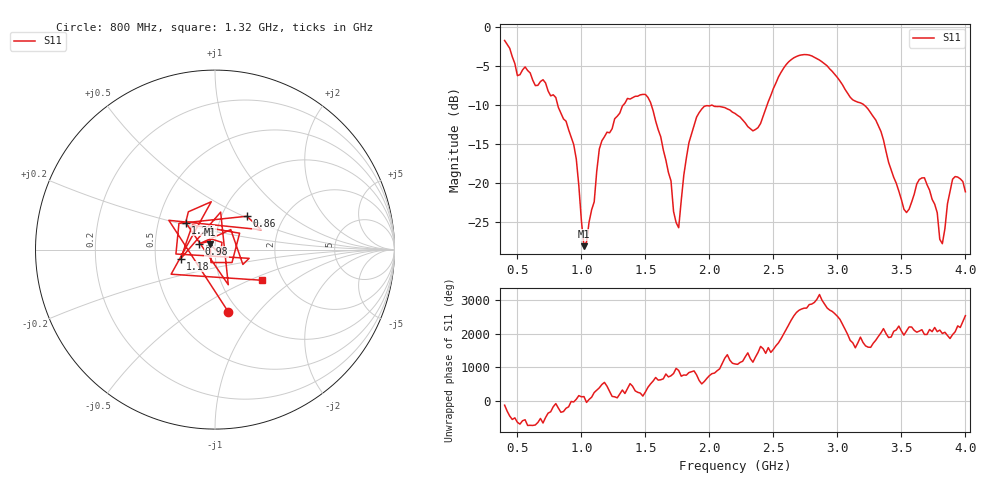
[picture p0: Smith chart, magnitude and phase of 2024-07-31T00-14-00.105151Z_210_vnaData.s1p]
!Created with skrf (http://scikit-rf.org).
# Hz S RI R 50.0
!freq ReS11 ImS11
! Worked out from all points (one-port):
!   181 points, 400 MHz to 4 GHz, reference 50 ohm
!   lowest |S11| = -28.2 dB at 1.02 GHz (marker M1), VSWR 1.08, Z = 47.4 + j2.77 ohm
!   |S11| at or under -10 dB: 814.9 MHz to 1.328 GHz (513.2 MHz wide, 47.9 % of centre); 1.546 GHz to 2.451 GHz (905.1 MHz wide, 45.3 % of centre); 3.207 GHz to end of sweep
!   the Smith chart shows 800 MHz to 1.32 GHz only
!   S11 on the Smith chart (normalised r, x): 800 MHz: 0.89, -0.71; 860 MHz: 1.31, +0.52; 980 MHz: 0.83, +0.05; 1.18 GHz: 0.68, -0.07; 1.24 GHz: 0.69, +0.22; 1.32 GHz: 1.57, -0.59
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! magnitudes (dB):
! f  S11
! 400 MHz  -1.7
! 500 MHz  -6.2
! 800 MHz  -9.1
! 860 MHz  -11.8
! 940 MHz  -15.1
! 980 MHz  -20.4
! 1.02 GHz  -28.2
! 1.1 GHz  -22.5
! 1.14 GHz  -15.7
! 1.18 GHz  -14.1
! 1.24 GHz  -13.1
! 1.3 GHz  -11.0
! 1.32 GHz  -10.1
! 1.54 GHz  -9.7
! 1.76 GHz  -25.8
! 1.82 GHz  -16.8
! 1.9 GHz  -11.6
! 2.2 GHz  -11.1
! 2.38 GHz  -12.9
! 2.66 GHz  -3.9
! 2.88 GHz  -4.5
! 3.1 GHz  -9.0
! 3.3 GHz  -12.0
! 3.56 GHz  -23.4
! 3.68 GHz  -19.4
! 3.82 GHz  -27.8
! 3.9 GHz  -19.5
! 4 GHz  -21.2
